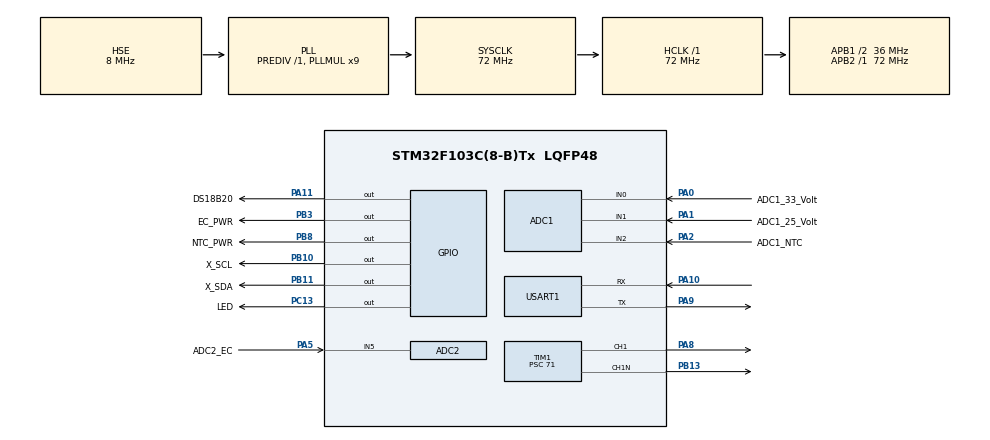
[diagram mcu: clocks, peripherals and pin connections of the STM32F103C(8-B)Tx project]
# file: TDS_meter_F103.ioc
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ADC1.Channel-0\#ChannelRegularConversion=ADC_CHANNEL_0
ADC1.Channel-1\#ChannelRegularConversion=ADC_CHANNEL_1
ADC1.Channel-2\#ChannelRegularConversion=ADC_CHANNEL_2
ADC1.Channel-3\#ChannelRegularConversion=ADC_CHANNEL_VREFINT
ADC1.ContinuousConvMode=ENABLE
ADC1.NbrOfConversion=4
ADC1.NbrOfConversionFlag=1
ADC1.Rank-0\#ChannelRegularConversion=1
ADC1.Rank-1\#ChannelRegularConversion=2
ADC1.Rank-2\#ChannelRegularConversion=3
ADC1.Rank-3\#ChannelRegularConversion=4
ADC1.SamplingTime-0\#ChannelRegularConversion=ADC_SAMPLETIME_28CYCLES_5
ADC1.SamplingTime-1\#ChannelRegularConversion=ADC_SAMPLETIME_28CYCLES_5
ADC1.SamplingTime-2\#ChannelRegularConversion=ADC_SAMPLETIME_28CYCLES_5
ADC1.SamplingTime-3\#ChannelRegularConversion=ADC_SAMPLETIME_28CYCLES_5
ADC1.master=1
ADC2.Channel-0\#ChannelRegularConversion=ADC_CHANNEL_5
ADC2.ExternalTrigConv=ADC_EXTERNALTRIGCONV_T3_TRGO
ADC2.NbrOfConversionFlag=1
ADC2.Rank-0\#ChannelRegularConversion=1
ADC2.SamplingTime-0\#ChannelRegularConversion=ADC_SAMPLETIME_28CYCLES_5
Dma.ADC1.0.Direction=DMA_PERIPH_TO_MEMORY
Dma.ADC1.0.Instance=DMA1_Channel1
Dma.ADC1.0.MemDataAlignment=DMA_MDATAALIGN_HALFWORD
Dma.ADC1.0.MemInc=DMA_MINC_ENABLE
Dma.ADC1.0.Mode=DMA_NORMAL
Dma.ADC1.0.PeriphDataAlignment=DMA_PDATAALIGN_HALFWORD
Dma.ADC1.0.PeriphInc=DMA_PINC_DISABLE
Dma.ADC1.0.Priority=DMA_PRIORITY_LOW
Dma.Request0=ADC1
Dma.Request1=USART1_TX
Dma.USART1_TX.1.Direction=DMA_MEMORY_TO_PERIPH
Dma.USART1_TX.1.Instance=DMA1_Channel4
Dma.USART1_TX.1.MemDataAlignment=DMA_MDATAALIGN_BYTE
Dma.USART1_TX.1.MemInc=DMA_MINC_ENABLE
Dma.USART1_TX.1.Mode=DMA_NORMAL
Dma.USART1_TX.1.PeriphDataAlignment=DMA_PDATAALIGN_BYTE
Dma.USART1_TX.1.PeriphInc=DMA_PINC_DISABLE
Dma.USART1_TX.1.Priority=DMA_PRIORITY_LOW
Mcu.Family=STM32F1
Mcu.Name=STM32F103C(8-B)Tx
Mcu.Package=LQFP48
NVIC.DMA1_Channel1_IRQn=true\:4\:0\:true\:false\:true\:false\:true
NVIC.DMA1_Channel4_IRQn=true\:0\:0\:false\:false\:true\:false\:true
NVIC.PriorityGroup=NVIC_PRIORITYGROUP_4
NVIC.TIM2_IRQn=true\:14\:0\:true\:false\:true\:true\:true
NVIC.USART1_IRQn=true\:3\:0\:true\:false\:true\:true\:true
PA0-WKUP.GPIO_Label=ADC1_33_Volt
PA0-WKUP.Signal=ADCx_IN0
PA1.GPIO_Label=ADC1_25_Volt
PA1.Signal=ADCx_IN1
PA10.Mode=Asynchronous
PA10.Signal=USART1_RX
PA11.GPIO_Label=DS18B20
PA11.GPIO_ModeDefaultOutputPP=GPIO_MODE_OUTPUT_OD
PA11.GPIO_Speed=GPIO_SPEED_FREQ_HIGH
PA11.Signal=GPIO_Output
PA13.Mode=Serial_Wire
PA13.Signal=SYS_JTMS-SWDIO
PA14.Mode=Serial_Wire
PA14.Signal=SYS_JTCK-SWCLK
PA2.GPIO_Label=ADC1_NTC
PA2.Signal=ADCx_IN2
PA5.GPIO_Label=ADC2_EC
PA5.Signal=ADCx_IN5
PA8.Signal=S_TIM1_CH1
PA9.Mode=Asynchronous
PA9.Signal=USART1_TX
PB10.GPIO_Label=X_SCL
PB10.GPIO_ModeDefaultOutputPP=GPIO_MODE_OUTPUT_PP
PB10.GPIO_PuPd=GPIO_PULLUP
PB10.GPIO_Speed=GPIO_SPEED_FREQ_HIGH
PB10.Signal=GPIO_Output
PB11.GPIO_Label=X_SDA
PB11.GPIO_ModeDefaultOutputPP=GPIO_MODE_OUTPUT_PP
PB11.GPIO_PuPd=GPIO_PULLUP
PB11.GPIO_Speed=GPIO_SPEED_FREQ_HIGH
PB11.Signal=GPIO_Output
PB13.Mode=Output Compare1 CH1 CH1N
PB13.Signal=TIM1_CH1N
PB3.GPIO_Label=EC_PWR
PB3.Signal=GPIO_Output
PB8.GPIO_Label=NTC_PWR
PB8.PinState=GPIO_PIN_SET
PB8.Signal=GPIO_Output
PC13-TAMPER-RTC.GPIO_Label=LED
PC13-TAMPER-RTC.Signal=GPIO_Output
PD0-OSC_IN.GPIO_Label=HSE_IN
PD0-OSC_IN.Mode=HSE-External-Oscillator
PD0-OSC_IN.Signal=RCC_OSC_IN
PD1-OSC_OUT.GPIO_Label=HSE_OUT
PD1-OSC_OUT.Mode=HSE-External-Oscillator
PD1-OSC_OUT.Signal=RCC_OSC_OUT
ProjectManager.HeapSize=0x200
ProjectManager.StackSize=0x400
ProjectManager.TargetToolchain=Makefile
RCC.ADCPresc=RCC_ADCPCLK2_DIV6
RCC.AHBFreq_Value=72000000
RCC.APB1CLKDivider=RCC_HCLK_DIV2
RCC.APB1Freq_Value=36000000
RCC.APB1TimFreq_Value=72000000
RCC.APB2Freq_Value=72000000
RCC.APB2TimFreq_Value=72000000
RCC.HCLKFreq_Value=72000000
RCC.PLLMUL=RCC_PLL_MUL9
RCC.PLLSourceVirtual=RCC_PLLSOURCE_HSE
RCC.SYSCLKFreq_VALUE=72000000
RCC.SYSCLKSource=RCC_SYSCLKSOURCE_PLLCLK
RCC.USBFreq_Value=72000000
SH.ADCx_IN0.0=ADC1_IN0,IN0
SH.ADCx_IN1.0=ADC1_IN1,IN1
SH.ADCx_IN2.0=ADC1_IN2,IN2
SH.ADCx_IN5.0=ADC2_IN5,IN5
SH.S_TIM1_CH1.0=TIM1_CH1,Output Compare1 CH1 CH1N
TIM1.Channel-Output\ Compare1\ CH1\ CH1N=TIM_CHANNEL_1
TIM1.DeadTime=20
TIM1.OCMode_1=TIM_OCMODE_TOGGLE
TIM1.OCNPolarity_1=TIM_OCNPOLARITY_HIGH
TIM1.OCPolarity_1=TIM_OCPOLARITY_HIGH
TIM1.Period=100
TIM1.Prescaler=71
TIM1.Pulse-Output\ Compare1\ CH1\ CH1N=100
TIM1.TIM_MasterOutputTrigger=TIM_TRGO_ENABLE
TIM1.TIM_MasterSlaveMode=TIM_MASTERSLAVEMODE_ENABLE
TIM2.Period=7600
TIM2.Prescaler=7199
TIM3.Period=100
TIM3.Prescaler=71
TIM3.TIM_MasterOutputTrigger=TIM_TRGO_UPDATE
USART1.VirtualMode=VM_ASYNC
VP_ADC1_Vref_Input.Mode=IN-Vrefint
VP_TIM2_VS_ClockSourceINT.Mode=Internal
VP_TIM2_VS_OPM.Mode=OPM_bit
VP_TIM3_VS_ClockSourceINT.Mode=Internal
VP_TIM3_VS_ClockSourceITR.Mode=TriggerSource_ITR0
VP_TIM3_VS_ControllerModeGated.Mode=Gated Mode
board=custom

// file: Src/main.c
/* USER CODE BEGIN Header */
/**
  ******************************************************************************
  * @file           : main.c
  * @brief          : Main program body
  ******************************************************************************
  * @attention
  *
  * <h2><center>&copy; Copyright (c) 2021 STMicroelectronics.
  * All rights reserved.</center></h2>
  *
  * This software component is licensed by ST under BSD 3-Clause license,
  * the "License"; You may not use this file except in compliance with the
  * License. You may obtain a copy of the License at:
  *                        opensource.org/licenses/BSD-3-Clause
  *
  ******************************************************************************
  */
/* USER CODE END Header */
#include "main.h"

/* USER CODE BEGIN Includes */
#include "string.h"
#include "stdio.h"
#include "stdlib.h"
#include "flash_wrt.h"
#include "delay_micros.h"
#include "ds18b20.h"
#include "math.h"
#include "usart_ring.h"
#include "tm1637.h"

/* USER CODE END Includes */

/* USER CODE BEGIN PD */
#define COUNT_REQUEST     40 // размер буфера ацп для adc_33_volt, adc_25_volt, adc_ntc, adc_vrefint (должно быть чётное число)
#define CH_ADC            4  // количество каналов (если тут не чётное число, то COUNT_REQUEST должен делится на него без остатка)
#define DIV_ADC           (COUNT_REQUEST / CH_ADC)

#define EC_COUNT_ADC      16 // количество опросов EC (должно быть чётное число)

#define BUF_UART          256
/* USER CODE END PD */

ADC_HandleTypeDef hadc1;
ADC_HandleTypeDef hadc2;
DMA_HandleTypeDef hdma_adc1;

TIM_HandleTypeDef htim1;
TIM_HandleTypeDef htim2;
TIM_HandleTypeDef htim3;

UART_HandleTypeDef huart1;
DMA_HandleTypeDef hdma_usart1_tx;

/* USER CODE BEGIN PV */
char trans_str[BUF_UART] = {0,};

volatile uint8_t adc_flag_full = 0;
volatile uint8_t flag_ds18b20 = 1;

//////////////////////////////////////////////////
//uint32_t interval_uart = 500;

uint32_t interval_ds18 = 800; // миллисекунды, min 800                             [A800]
uint32_t interval_ec = 500;   // миллисекунды, min 500                             [B

uint32_t referenceVoltage = 3187;  // 2500mv (напряжение питания в попугаях)       [C

uint32_t ntcR1 = 9600;    // 10kΩ voltage divider resistor value                   [D
uint32_t ntcRo = 10000;   // 10kΩ R of Thermistor at 25 degree                     [E
uint32_t ntcTo = 25;      // 25 Temperature in Kelvin for 25 degree                [F
uint32_t ntcKoefB = 3950; // 3950 Beta value                                       [G

int32_t ecRo = 1000;      //  Ω Voltage divider resistor value 500Ω / 1000Ω        [K
int32_t ecKoefA = 1627166;//  Alfa value [L
int32_t ecKoefB = -180;   //  Beta value                                           [M
int32_t ecKoefC = 898;    //  С-value                                              [N
int32_t ecKoefT = 0;      //  Ноль Koef Temperature                                [P

uint32_t ec_Hz = 9;       // Частота PWM (в микросек, min 9, max 65535)            [Q
/* USER CODE END PV */

void SystemClock_Config(void);
static void MX_GPIO_Init(void);
static void MX_DMA_Init(void);
static void MX_ADC1_Init(void);
static void MX_USART1_UART_Init(void);
static void MX_TIM1_Init(void);
static void MX_ADC2_Init(void);
static void MX_TIM2_Init(void);
static void MX_TIM3_Init(void);

/* USER CODE BEGIN 0 */
#if DEBUG_USART1
void trans_to_usart1(char *buf)
{
  uint8_t len = strlen((char*)buf);

  for(uint8_t i = 0; i < len; i++)
  {
    while((USART1->SR & USART_SR_TXE) == 0){}
    USART1->DR = buf[i];
  }

  while((USART1->SR & USART_SR_TXE) == 0){}
  USART1->DR = '\n';
}
#endif

/////////// Таймер измерения времени для скорости & rpm ///////////
void HAL_TIM_PeriodElapsedCallback(TIM_HandleTypeDef *htim)
{
  if(htim == &htim2) // ds18b20
  {
    flag_ds18b20 = 2;
  }
}

void HAL_ADC_ConvCpltCallback(ADC_HandleTypeDef* hadc)
{
  if(hadc->Instance == ADC1)
  {
    adc_flag_full = 1;
    HAL_ADC_Stop(&hadc1);
  }
}

int16_t rawNtcToTemperature(uint16_t Vout)
{
  uint32_t Rt;
  double kelvin, celsius;

  uint32_t R1 = ntcR1; // 9600  | voltage divider resistor value
  uint32_t Ro = ntcRo; // 10000 | R of Thermistor at 25 degree
  uint32_t To = ntcTo; // 25 | Temperature in Kelvin for 25 degree
  uint32_t koefB = ntcKoefB; // 3950  | Beta value
  uint32_t mv = (referenceVoltage - Vout);

  Rt = R1 * mv / (referenceVoltage - mv);
  kelvin = (double)Ro / (double)Rt;              // R/Ro
  kelvin = log(kelvin);                          // ln(R/Ro)
  kelvin = (1 / (double)koefB) * kelvin;         // 1/B * ln(R/Ro)
  kelvin = (1 / ((double)To + 273.15)) + kelvin; // 1/To + 1/B * ln(R/Ro)
  kelvin = 1 / kelvin; // 1/( 1/To + 1/B * ln(R/Ro) )​

  celsius = kelvin - 273.15; // Convert Kelvin to Celsius.
  return round(celsius * 1000);
}

/* USER CODE END 0 */

int main(void)
{

  /* MCU Configuration--------------------------------------------------------*/

  /* Reset of all peripherals, Initializes the Flash interface and the Systick. */
  HAL_Init();

  /* Configure the system clock */
  SystemClock_Config();

  /* Initialize all configured peripherals */
  MX_GPIO_Init();
  MX_DMA_Init();
  MX_ADC1_Init();
  MX_USART1_UART_Init();
  MX_TIM1_Init();
  MX_ADC2_Init();
  MX_TIM2_Init();
  MX_TIM3_Init();
  /* USER CODE BEGIN 2 */
  // Enable power.
  HAL_GPIO_WritePin(EC_PWR_GPIO_Port, EC_PWR_Pin, GPIO_PIN_SET);
  HAL_GPIO_WritePin(NTC_PWR_GPIO_Port, NTC_PWR_Pin, GPIO_PIN_RESET);
  ///////////////////// READ FLASH ////////////////////////
  uint32_t data[13] = {0,};

  Read_flash_data(ADDR_FLASH_PAGE_31, data);

  #if DEBUG_USART1 // дефаин в файле main.h
  snprintf(trans_str, BUF_UART, "A %lu %lu %lu %lu %lu %lu %lu %lu %lu %lu %lu %lu %lu",\
      data[0], data[1], data[2], data[3], data[4], data[5], data[6], data[7], data[8], data[9], data[10], data[11], data[12]);
  trans_to_usart1(trans_str);
  #endif

  // @todo: проверка целостности вмсето пустой флешки
  if(1 || data[0] == 0xFFFFFFFF) // если флеш пустая, записываем туда дефолтные значения
  {
    data[0] = interval_ds18;    // 800
    data[1] = interval_ec;      // 500
    data[2] = referenceVoltage; // 2500
    data[3] = ntcR1;            // 9600
    data[4] = ntcRo;            // 10000
    data[5] = ntcTo;            // 25
    data[6] = ntcKoefB;         // 3950
    data[7] = ecRo;             // 1000
    data[8] = ecKoefA;          // 102545
    data[9] = ecKoefB;          // 99
    data[10] = ecKoefC;         // 5
    data[11] = ecKoefT;         // 0
    data[12] = ec_Hz;           // 9

    Write_flash_data(ADDR_FLASH_PAGE_31, data);
  }
  else
  {
    interval_ds18 = data[0];
    interval_ec = data[1];
    referenceVoltage = data[2];
    ntcR1 = data[3];
    ntcRo = data[4];
    ntcTo = data[5];
    ntcKoefB = data[6];
    ecRo = data[7];
    ecKoefA = data[8];
    ecKoefB = data[9];
    ecKoefC = data[10];
    ecKoefT = data[11];
    ec_Hz = data[12];
  }

  #if DEBUG_USART1
  snprintf(trans_str, BUF_UART, "B %lu %lu %lu %lu %lu %lu %lu %ld %ld %ld %ld %ld %lu",\
      interval_ds18, interval_ec, referenceVoltage, ntcR1, ntcRo, ntcTo, ntcKoefB, ecRo, ecKoefA, ecKoefB, ecKoefC, ecKoefT, ec_Hz);
  trans_to_usart1(trans_str);
  #endif

  /////////////////////// DWT /////////////////////////////
  DWT_Init();

  /////////////////////// tm1637/////////////////////////////
  set_brightness(7); // 0 - 7 яркость
  clearDisplay();    // очистка дисплея
  int8_t data_to_disp[4] = {0,};

  ///////////////////// DS18B20 ///////////////////////////
  setResolution(DS18B20_Resolution_12_bit);

  ///////////////////// ADC1 /////////////////////////////
  HAL_ADCEx_Calibration_Start(&hadc1); // калибровка АЦП1
  HAL_ADCEx_Calibration_Start(&hadc2); // калибровка АЦП2
  uint16_t adc_buf[COUNT_REQUEST] = {0,}; // буфер для adc_33_volt, adc_25_volt, adc_ntc, adc_vrefint, по 10 значений каждого (#define COUNT_REQUEST)
  HAL_ADC_Start_DMA(&hadc1, (uint32_t*)adc_buf, COUNT_REQUEST); // опрашивает adc_33_volt, adc_25_volt, adc_ntc, adc_vrefint

  /////// переменные АЦП1 ///////
  uint32_t tmp_adc_33_volt = 0;
  uint32_t tmp_adc_25_volt = 0;
  uint32_t tmp_adc_ntc = 0;
  uint32_t tmp_adc_vrefint = 0;

  uint16_t adc_33_volt = 0;
  uint16_t adc_25_volt = 0;
  uint16_t adc_ntc = 0;
  uint16_t adc_vrefint = 0;

  ///////////////////// ADC2 и PWM ////////////////////////
  TIM1->ARR = ec_Hz;
  TIM1->CCR1 = TIM1->ARR;
  TIM1->EGR = TIM_EGR_UG;
  TIM1->SR = ~TIM_SR_UIF;

  TIM3->ARR = TIM1->ARR;
  TIM3->EGR = TIM_EGR_UG;
  TIM3->SR = ~TIM_SR_UIF;

  HAL_ADC_Start(&hadc2);      // включаем АЦП2 (преобразование запустится по триггеру)
  HAL_TIM_Base_Start(&htim3); // подчинённый таймер, запускается от тим1 и работает с ним синхронно "толкая" АЦП2 сразу после переключения фронтов тим1
  HAL_TIM_OC_Start(&htim1, TIM_CHANNEL_1); // запускает PWM, и посылает триггер для запуска тим3
  HAL_TIMEx_OCN_Start(&htim1, TIM_CHANNEL_1);

  /////// переменные АЦП2 ///////
  uint32_t tmp_adc_ec_positive = 0; // собирает пачку позитивных значений ЕС (по умолчанию 10 - #define EC_COUNT_ADC)
  uint16_t adc_ec_positive = 0; // среднее позитив = (tmp_adc_ec_positive / EC_COUNT_ADC)

  uint32_t tmp_adc_ec_negative = 0; // собирает пачку негативных значений ЕС (по умолчанию 10 - #define EC_COUNT_ADC)
  uint16_t adc_ec_negative = 0; // среднее негатив = (tmp_adc_ec_negative / EC_COUNT_ADC)
  // Посчитанные значения EC.
  int16_t adc_ec_delta = 0;
  uint16_t adc_ec_raw = 0;
  uint16_t ec = 0;

  ///////////////// Готовые температуры ////////////////////
  int16_t temp_ntc = 0;
  int16_t temp_ds18 = 0;

  ///////////////////////// tick ///////////////////////////
  uint32_t tim_ds18 = 0;
  //uint32_t tim_uart = 0;
  uint32_t tim_ec = 0;

  //////////////// Вкл прерывания UART /////////////////////
  __HAL_UART_ENABLE_IT(&huart1, UART_IT_RXNE); // приём команд происходит в файле stm32f1xx_it.c

  /* USER CODE END 2 */

  /* Infinite loop */
  /* USER CODE BEGIN WHILE */
  while (1)
  {
    if(adc_flag_full == 1) // ждём флаг, который установится в прерывании АЦП1 по окончанию работы ДМА
    {
        adc_flag_full = 0; // обнуляем флаг

        // обнуляем временные переменные
        tmp_adc_33_volt = 0;
        tmp_adc_25_volt = 0;
        tmp_adc_ntc = 0;
        tmp_adc_vrefint = 0;

        // разбираем данные с АЦП1 полученые через ДМА
      for(uint16_t i = 0; i < (COUNT_REQUEST / CH_ADC); i++)
      {
        tmp_adc_33_volt += adc_buf[CH_ADC * i + 0];
        tmp_adc_25_volt += adc_buf[CH_ADC * i + 1];
        tmp_adc_ntc += adc_buf[CH_ADC * i + 2];
        tmp_adc_vrefint += adc_buf[CH_ADC * i + 3];
      }

      // усредняем
      adc_33_volt = (tmp_adc_33_volt / DIV_ADC);
      adc_25_volt = (tmp_adc_25_volt / DIV_ADC);
      adc_ntc = (tmp_adc_ntc / DIV_ADC);
      adc_vrefint = (tmp_adc_vrefint / DIV_ADC);

      temp_ntc = rawNtcToTemperature(adc_ntc); // получаем температуру с NTC

      //sprintf(trans_str, "A %d %d %d %d %ld", adc_33_volt, adc_25_volt, adc_ntc, adc_vrefint, ntc);
      //trans_to_usart1(trans_str);
      //HAL_Delay(500);

      HAL_ADC_Start_DMA(&hadc1, (uint32_t*)adc_buf, COUNT_REQUEST); // перезапускаем АЦП1
    }

    //////////////////////////////// DS18B20 ////////////////////////////////////
    if((uwTick - tim_ds18) > interval_ds18)
    {
      if(flag_ds18b20 == 1)
      {
        flag_ds18b20 = 0;

        DB18B20_PORT->BSRR = (uint32_t)DB18B20_PIN << 16u;
        delay_us(DELAY_RESET);
        DB18B20_PORT->BSRR = DB18B20_PIN;
        delay_us(DELAY_RESET);

        writeByte(SKIP_ROM);
        writeByte(CONVERT_T);

        TIM2->DIER |= TIM_IT_UPDATE;
        TIM2->CR1 |= TIM_CR1_CEN;
      }
      else if(flag_ds18b20 == 2) // когда таймер отсчитает 750мс, он установит flag == 2
      {
        DB18B20_PORT->BSRR = (uint32_t)DB18B20_PIN << 16u;
        delay_us(DELAY_RESET);
        DB18B20_PORT->BSRR = DB18B20_PIN;
        delay_us(DELAY_RESET);

        writeByte(SKIP_ROM);
        writeByte(READ_SCRATCHPAD);

        temp_ds18 = 0;

        for(uint8_t i = 0; i < 16; i++) temp_ds18 += (int16_t)readBit() << i;

        temp_ds18 = (1000 * temp_ds18 / 16);
        //float t = temp_ds18 / 16.0;

        flag_ds18b20 = 1; // запускаем новое измерение.
      }

      HAL_GPIO_TogglePin(LED_GPIO_Port, LED_Pin); // просто мигалка, можно вставить куда захочется
      tim_ds18 = uwTick;
    }

    //////////////////////////// EC ///////////////////////////////
    if((uwTick - tim_ec) > interval_ec)
    {
      tmp_adc_ec_positive = 0;
      tmp_adc_ec_negative = 0;

      // данные с АЦП2 (ЕС) читаются постоянно, преобразование запускается по триггеру от таймера №3.
      // блогодаря тому, что АЦП2 работает постоянно, нам не нужно тратить время на его запуск.
      ADC2->DR; // читаем регистр чтоб обнулить его

      for(uint8_t i = 0; i < EC_COUNT_ADC; i++)
      {
        while(!(ADC2->SR & ADC_SR_EOC)); // ждём следуещего преобразования

        if((GPIOA->IDR & GPIO_PIN_8)) // проверяем пин РА8 (в каком он состоянии - позитивном или негативном)
        {
          tmp_adc_ec_positive += ADC2->DR;
          //trans_to_usart1("P");
        }
        else
        {
          tmp_adc_ec_negative += ADC2->DR;
          //trans_to_usart1("N");
        }
      }

      adc_ec_positive = (tmp_adc_ec_positive / (EC_COUNT_ADC / 2));
      adc_ec_negative = adc_25_volt - (tmp_adc_ec_negative / (EC_COUNT_ADC / 2));
      adc_ec_delta = adc_ec_positive - adc_ec_negative;
      adc_ec_raw = (adc_ec_positive + adc_ec_negative) / 2;
      uint16_t R = ecRo * (referenceVoltage - adc_ec_raw) / adc_ec_raw;
      ec = ecKoefA / (R - ecKoefB) - ecKoefC;

      uint16_t vdd = 1210 * 4095 / adc_vrefint; // напряжение питания на основе Vrefint (не точно)

      ////////////////////////// Выводим все данные в УАРТ /////////////////////////////
      uint16_t len = snprintf(
          trans_str, BUF_UART, "EC:%d R:%d RAW:%d |%d %d| Δ %d %d %d %d %d %d %d %d\n",
          ec,
          R,
          adc_ec_raw,
          temp_ntc / 1000,
          temp_ds18 / 1000,
          adc_ec_delta,
          adc_ec_positive,
          adc_ec_negative,
          adc_33_volt,
          adc_25_volt,
          adc_ntc,
          adc_vrefint,
          vdd);
      while ((HAL_UART_GetState(&huart1) != HAL_UART_STATE_READY));
      HAL_UART_Transmit_DMA(&huart1, (uint8_t *)trans_str, len);

      // if(adc_ec_positive < 2900 || adc_ec_positive > 3100) while(1){}
      // if(adc_ec_negative < 2900 || adc_ec_negative > 3100) while(1){}

      //////////////// tm1637 ///////////////
      if (ec >= 1000) {
        data_to_disp[0] = (ec / 1000 % 10);
        data_to_disp[1] = (ec / 100 % 10);
        data_to_disp[2] = (ec / 10 % 10);
        data_to_disp[3] = ec % 10;
      } else if (ec >= 100) {
        data_to_disp[0] = 0x7f; // ничего не выводит на сегмент
        data_to_disp[1] = (ec / 100 % 10);
        data_to_disp[2] = (ec / 10 % 10);
        data_to_disp[3] = ec % 10;
      } else if (ec >= 10) {
        data_to_disp[0] = 0x7f;
        data_to_disp[1] = 0x7f;
        data_to_disp[2] = (ec / 10 % 10);
        data_to_disp[3] = ec % 10;
      } else if (ec >= 0) {
        data_to_disp[0] = 0x7f;
        data_to_disp[1] = 0x7f;
        data_to_disp[2] = 0x7f;
        data_to_disp[3] = ec % 10;
      }
      //// Для отрицательных значений -1 -99 ////
      else if (ec <= -10 && ec >= -99) {
        int8_t tmp = ec;
        tmp *= -1;

        data_to_disp[0] = 0x7f;
        data_to_disp[1] = 18; // выводит на сегмент знак "минус"
        data_to_disp[2] = (tmp / 10 % 10);
        data_to_disp[3] = tmp % 10;
      } else if (ec <= -1 && ec >= -9) {
        int8_t tmp = ec;
        tmp *= -1;

        data_to_disp[0] = 0x7f;
        data_to_disp[1] = 0x7f;
        data_to_disp[2] = 18;
        data_to_disp[3] = tmp % 10;
      }

      display_mass(data_to_disp);

      //snprintf(trans_str, BUF_UART, "Vref: %d Vdd: %d mV\n", adc_vrefint, vdd);
      //trans_to_usart1(trans_str);

      tim_ec = uwTick;
    }

    //////////////////////////// UART //////////////////////////////
    /*if((uwTick - tim_uart) > interval_uart) // кидаем данные у УАРТ с указанным интервалом
    {
      uint16_t len = snprintf(trans_str, BUF_UART, "%d %d %d %d %ld %d %d %d\n", \
          adc_33_volt, adc_25_volt, adc_ntc, adc_vrefint, temp_ntc, temp_ds18, adc_ec_positive, adc_ec_negative);
      trans_to_usart_data(trans_str, len);

      //snprintf(trans_str, 128, "Len %d", len);
      //trans_to_usart1(trans_str);
      tim_uart = uwTick;
    }*/

    //////////////////////////// UART Приём //////////////////////////////
    if(uart_available()) // есть ли что-то в приёмном буфере, тогда читаем
    {
      char str[16] = {0,};
      uint8_t i = 0;
      uint8_t flag = 0;

      while(uart_available())
      {
        str[i] = uart_read();

        if(str[i] == ']')
        {
          str[i] = '\0';
          flag = 1;
          break;
        }
        else if(i == 15) break;

        i++;
        delay_us(150);
      }

      if(flag && str[0] == '[')
      {
      switch(str[1])
      {
        case 'A':
          interval_ds18 = strtoul(&str[2], NULL, 0);
          if(interval_ds18 < 800) interval_ds18 = 800;
        break;

        case 'B':
          interval_ec = strtoul(&str[2], NULL, 0); // интервал вывода в УАРТ и опрос ЕС
          if(interval_ec < 500) interval_ec = 500;
        break;

        case 'C':
          referenceVoltage = strtoul(&str[2], NULL, 0);
        break;

        case 'D':
          ntcR1 = strtoul(&str[2], NULL, 0);
        break;

        case 'E':
          ntcRo = strtoul(&str[2], NULL, 0);
        break;

        case 'F':
          ntcTo = strtoul(&str[2], NULL, 0);
        break;

        case 'G':
          ntcKoefB = strtoul(&str[2], NULL, 0);
        break;

        case 'K':
          ecRo = strtoul(&str[2], NULL, 0);
        break;

        case 'L':
          ecKoefA = strtoul(&str[2], NULL, 0);
        break;

        case 'M':
          ecKoefB = strtoul(&str[2], NULL, 0);
        break;

        case 'N':
          ecKoefC = strtoul(&str[2], NULL, 0);
        break;

        case 'P':
          ecKoefT = strtoul(&str[2], NULL, 0);
        break;

        case 'Q':
          ec_Hz = strtoul(&str[2], NULL, 0);
          if(ec_Hz < 9) ec_Hz = 9;
        break;

        default:
        break;
      }

      data[0] = interval_ds18;
      data[1] = interval_ec;
      data[2] = referenceVoltage;
      data[3] = ntcR1;
      data[4] = ntcRo;
      data[5] = ntcTo;
      data[6] = ntcKoefB;
      data[7] = ecRo;
      data[8] = ecKoefA;
      data[9] = ecKoefB;
      data[10] = ecKoefC;
      data[11] = ecKoefT;
      data[12] = ec_Hz;

      Write_flash_data(ADDR_FLASH_PAGE_31, data); // сохраняем данные (сохранение в одну страницу флеша, поэтому все значения перезаписываются)

      if(str[1] == 'Q') NVIC_SystemReset(); // если изменилась частота, тогда ресетим камень
      }
    }

    /* USER CODE END WHILE */

  }
}

void SystemClock_Config(void)
{
  RCC_OscInitTypeDef RCC_OscInitStruct = {0};
  RCC_ClkInitTypeDef RCC_ClkInitStruct = {0};
  RCC_PeriphCLKInitTypeDef PeriphClkInit = {0};

  /** Initializes the RCC Oscillators according to the specified parameters
  * in the RCC_OscInitTypeDef structure.
  */
  RCC_OscInitStruct.OscillatorType = RCC_OSCILLATORTYPE_HSE;
  RCC_OscInitStruct.HSEState = RCC_HSE_ON;
  RCC_OscInitStruct.HSEPredivValue = RCC_HSE_PREDIV_DIV1;
  RCC_OscInitStruct.HSIState = RCC_HSI_ON;
  RCC_OscInitStruct.PLL.PLLState = RCC_PLL_ON;
  RCC_OscInitStruct.PLL.PLLSource = RCC_PLLSOURCE_HSE;
  RCC_OscInitStruct.PLL.PLLMUL = RCC_PLL_MUL9;
  if (HAL_RCC_OscConfig(&RCC_OscInitStruct) != HAL_OK)
  {
    Error_Handler();
  }
  /** Initializes the CPU, AHB and APB buses clocks
  */
  RCC_ClkInitStruct.ClockType = RCC_CLOCKTYPE_HCLK|RCC_CLOCKTYPE_SYSCLK
                              |RCC_CLOCKTYPE_PCLK1|RCC_CLOCKTYPE_PCLK2;
  RCC_ClkInitStruct.SYSCLKSource = RCC_SYSCLKSOURCE_PLLCLK;
  RCC_ClkInitStruct.AHBCLKDivider = RCC_SYSCLK_DIV1;
  RCC_ClkInitStruct.APB1CLKDivider = RCC_HCLK_DIV2;
  RCC_ClkInitStruct.APB2CLKDivider = RCC_HCLK_DIV1;

  if (HAL_RCC_ClockConfig(&RCC_ClkInitStruct, FLASH_LATENCY_2) != HAL_OK)
  {
    Error_Handler();
  }
  PeriphClkInit.PeriphClockSelection = RCC_PERIPHCLK_ADC;
  PeriphClkInit.AdcClockSelection = RCC_ADCPCLK2_DIV6;
  if (HAL_RCCEx_PeriphCLKConfig(&PeriphClkInit) != HAL_OK)
  {
    Error_Handler();
  }
}

static void MX_ADC1_Init(void)
{

  ADC_ChannelConfTypeDef sConfig = {0};

  /** Common config
  */
  hadc1.Instance = ADC1;
  hadc1.Init.ScanConvMode = ADC_SCAN_ENABLE;
  hadc1.Init.ContinuousConvMode = ENABLE;
  hadc1.Init.DiscontinuousConvMode = DISABLE;
  hadc1.Init.ExternalTrigConv = ADC_SOFTWARE_START;
  hadc1.Init.DataAlign = ADC_DATAALIGN_RIGHT;
  hadc1.Init.NbrOfConversion = 4;
  if (HAL_ADC_Init(&hadc1) != HAL_OK)
  {
    Error_Handler();
  }
  /** Configure Regular Channel
  */
  sConfig.Channel = ADC_CHANNEL_0;
  sConfig.Rank = ADC_REGULAR_RANK_1;
  sConfig.SamplingTime = ADC_SAMPLETIME_28CYCLES_5;
  if (HAL_ADC_ConfigChannel(&hadc1, &sConfig) != HAL_OK)
  {
    Error_Handler();
  }
  /** Configure Regular Channel
  */
  sConfig.Channel = ADC_CHANNEL_1;
  sConfig.Rank = ADC_REGULAR_RANK_2;
  if (HAL_ADC_ConfigChannel(&hadc1, &sConfig) != HAL_OK)
  {
    Error_Handler();
  }
  /** Configure Regular Channel
  */
  sConfig.Channel = ADC_CHANNEL_2;
  sConfig.Rank = ADC_REGULAR_RANK_3;
  if (HAL_ADC_ConfigChannel(&hadc1, &sConfig) != HAL_OK)
  {
    Error_Handler();
  }
  /** Configure Regular Channel
  */
  sConfig.Channel = ADC_CHANNEL_VREFINT;
  sConfig.Rank = ADC_REGULAR_RANK_4;
  if (HAL_ADC_ConfigChannel(&hadc1, &sConfig) != HAL_OK)
  {
    Error_Handler();
  }

}

static void MX_ADC2_Init(void)
{

  ADC_ChannelConfTypeDef sConfig = {0};

  /** Common config
  */
  hadc2.Instance = ADC2;
  hadc2.Init.ScanConvMode = ADC_SCAN_DISABLE;
  hadc2.Init.ContinuousConvMode = DISABLE;
  hadc2.Init.DiscontinuousConvMode = DISABLE;
  hadc2.Init.ExternalTrigConv = ADC_EXTERNALTRIGCONV_T3_TRGO;
  hadc2.Init.DataAlign = ADC_DATAALIGN_RIGHT;
  hadc2.Init.NbrOfConversion = 1;
  if (HAL_ADC_Init(&hadc2) != HAL_OK)
  {
    Error_Handler();
  }
  /** Configure Regular Channel
  */
  sConfig.Channel = ADC_CHANNEL_5;
  sConfig.Rank = ADC_REGULAR_RANK_1;
  sConfig.SamplingTime = ADC_SAMPLETIME_28CYCLES_5;
  if (HAL_ADC_ConfigChannel(&hadc2, &sConfig) != HAL_OK)
  {
    Error_Handler();
  }

}

static void MX_TIM1_Init(void)
{

  TIM_MasterConfigTypeDef sMasterConfig = {0};
  TIM_OC_InitTypeDef sConfigOC = {0};
  TIM_BreakDeadTimeConfigTypeDef sBreakDeadTimeConfig = {0};

  htim1.Instance = TIM1;
  htim1.Init.Prescaler = 71;
  htim1.Init.CounterMode = TIM_COUNTERMODE_UP;
  htim1.Init.Period = 100;
  htim1.Init.ClockDivision = TIM_CLOCKDIVISION_DIV1;
  htim1.Init.RepetitionCounter = 0;
  htim1.Init.AutoReloadPreload = TIM_AUTORELOAD_PRELOAD_DISABLE;
  if (HAL_TIM_OC_Init(&htim1) != HAL_OK)
  {
    Error_Handler();
  }
  sMasterConfig.MasterOutputTrigger = TIM_TRGO_ENABLE;
  sMasterConfig.MasterSlaveMode = TIM_MASTERSLAVEMODE_ENABLE;
  if (HAL_TIMEx_MasterConfigSynchronization(&htim1, &sMasterConfig) != HAL_OK)
  {
    Error_Handler();
  }
  sConfigOC.OCMode = TIM_OCMODE_TOGGLE;
  sConfigOC.Pulse = 100;
  sConfigOC.OCPolarity = TIM_OCPOLARITY_HIGH;
  sConfigOC.OCNPolarity = TIM_OCNPOLARITY_HIGH;
  sConfigOC.OCFastMode = TIM_OCFAST_DISABLE;
  sConfigOC.OCIdleState = TIM_OCIDLESTATE_RESET;
  sConfigOC.OCNIdleState = TIM_OCNIDLESTATE_RESET;
  if (HAL_TIM_OC_ConfigChannel(&htim1, &sConfigOC, TIM_CHANNEL_1) != HAL_OK)
  {
    Error_Handler();
  }
  sBreakDeadTimeConfig.OffStateRunMode = TIM_OSSR_DISABLE;
  sBreakDeadTimeConfig.OffStateIDLEMode = TIM_OSSI_DISABLE;
  sBreakDeadTimeConfig.LockLevel = TIM_LOCKLEVEL_OFF;
  sBreakDeadTimeConfig.DeadTime = 20;
  sBreakDeadTimeConfig.BreakState = TIM_BREAK_DISABLE;
  sBreakDeadTimeConfig.BreakPolarity = TIM_BREAKPOLARITY_HIGH;
  sBreakDeadTimeConfig.AutomaticOutput = TIM_AUTOMATICOUTPUT_DISABLE;
  if (HAL_TIMEx_ConfigBreakDeadTime(&htim1, &sBreakDeadTimeConfig) != HAL_OK)
  {
    Error_Handler();
  }
  HAL_TIM_MspPostInit(&htim1);

}

static void MX_TIM2_Init(void)
{

  TIM_ClockConfigTypeDef sClockSourceConfig = {0};
  TIM_MasterConfigTypeDef sMasterConfig = {0};

  htim2.Instance = TIM2;
  htim2.Init.Prescaler = 7199;
  htim2.Init.CounterMode = TIM_COUNTERMODE_UP;
  htim2.Init.Period = 7600;
  htim2.Init.ClockDivision = TIM_CLOCKDIVISION_DIV1;
  htim2.Init.AutoReloadPreload = TIM_AUTORELOAD_PRELOAD_DISABLE;
  if (HAL_TIM_Base_Init(&htim2) != HAL_OK)
  {
    Error_Handler();
  }
  sClockSourceConfig.ClockSource = TIM_CLOCKSOURCE_INTERNAL;
  if (HAL_TIM_ConfigClockSource(&htim2, &sClockSourceConfig) != HAL_OK)
  {
    Error_Handler();
  }
  if (HAL_TIM_OnePulse_Init(&htim2, TIM_OPMODE_SINGLE) != HAL_OK)
  {
    Error_Handler();
  }
  sMasterConfig.MasterOutputTrigger = TIM_TRGO_RESET;
  sMasterConfig.MasterSlaveMode = TIM_MASTERSLAVEMODE_DISABLE;
  if (HAL_TIMEx_MasterConfigSynchronization(&htim2, &sMasterConfig) != HAL_OK)
  {
    Error_Handler();
  }

}

static void MX_TIM3_Init(void)
{

  TIM_ClockConfigTypeDef sClockSourceConfig = {0};
  TIM_SlaveConfigTypeDef sSlaveConfig = {0};
  TIM_MasterConfigTypeDef sMasterConfig = {0};

  htim3.Instance = TIM3;
  htim3.Init.Prescaler = 71;
  htim3.Init.CounterMode = TIM_COUNTERMODE_UP;
  htim3.Init.Period = 100;
  htim3.Init.ClockDivision = TIM_CLOCKDIVISION_DIV1;
  htim3.Init.AutoReloadPreload = TIM_AUTORELOAD_PRELOAD_DISABLE;
  if (HAL_TIM_Base_Init(&htim3) != HAL_OK)
  {
    Error_Handler();
  }
  sClockSourceConfig.ClockSource = TIM_CLOCKSOURCE_INTERNAL;
  if (HAL_TIM_ConfigClockSource(&htim3, &sClockSourceConfig) != HAL_OK)
  {
    Error_Handler();
  }
  sSlaveConfig.SlaveMode = TIM_SLAVEMODE_GATED;
  sSlaveConfig.InputTrigger = TIM_TS_ITR0;
  if (HAL_TIM_SlaveConfigSynchro(&htim3, &sSlaveConfig) != HAL_OK)
  {
    Error_Handler();
  }
  sMasterConfig.MasterOutputTrigger = TIM_TRGO_UPDATE;
  sMasterConfig.MasterSlaveMode = TIM_MASTERSLAVEMODE_DISABLE;
  if (HAL_TIMEx_MasterConfigSynchronization(&htim3, &sMasterConfig) != HAL_OK)
  {
    Error_Handler();
  }

}

static void MX_USART1_UART_Init(void)
{

  huart1.Instance = USART1;
  huart1.Init.BaudRate = 115200;
  huart1.Init.WordLength = UART_WORDLENGTH_8B;
  huart1.Init.StopBits = UART_STOPBITS_1;
  huart1.Init.Parity = UART_PARITY_NONE;
  huart1.Init.Mode = UART_MODE_TX_RX;
  huart1.Init.HwFlowCtl = UART_HWCONTROL_NONE;
  huart1.Init.OverSampling = UART_OVERSAMPLING_16;
  if (HAL_UART_Init(&huart1) != HAL_OK)
  {
    Error_Handler();
  }

}

static void MX_DMA_Init(void)
{

  /* DMA controller clock enable */
  __HAL_RCC_DMA1_CLK_ENABLE();

  /* DMA interrupt init */
  /* DMA1_Channel1_IRQn interrupt configuration */
  HAL_NVIC_SetPriority(DMA1_Channel1_IRQn, 4, 0);
  HAL_NVIC_EnableIRQ(DMA1_Channel1_IRQn);
  /* DMA1_Channel4_IRQn interrupt configuration */
  HAL_NVIC_SetPriority(DMA1_Channel4_IRQn, 0, 0);
  HAL_NVIC_EnableIRQ(DMA1_Channel4_IRQn);

}

static void MX_GPIO_Init(void)
{
  GPIO_InitTypeDef GPIO_InitStruct = {0};

  /* GPIO Ports Clock Enable */
  __HAL_RCC_GPIOC_CLK_ENABLE();
  __HAL_RCC_GPIOD_CLK_ENABLE();
  __HAL_RCC_GPIOA_CLK_ENABLE();
  __HAL_RCC_GPIOB_CLK_ENABLE();

  /*Configure GPIO pin Output Level */
  HAL_GPIO_WritePin(LED_GPIO_Port, LED_Pin, GPIO_PIN_RESET);

  /*Configure GPIO pin Output Level */
  HAL_GPIO_WritePin(GPIOB, X_SCL_Pin|X_SDA_Pin|EC_PWR_Pin, GPIO_PIN_RESET);

  /*Configure GPIO pin Output Level */
  HAL_GPIO_WritePin(DS18B20_GPIO_Port, DS18B20_Pin, GPIO_PIN_RESET);

  /*Configure GPIO pin Output Level */
  HAL_GPIO_WritePin(NTC_PWR_GPIO_Port, NTC_PWR_Pin, GPIO_PIN_SET);

  /*Configure GPIO pin : LED_Pin */
  GPIO_InitStruct.Pin = LED_Pin;
  GPIO_InitStruct.Mode = GPIO_MODE_OUTPUT_PP;
  GPIO_InitStruct.Pull = GPIO_NOPULL;
  GPIO_InitStruct.Speed = GPIO_SPEED_FREQ_LOW;
  HAL_GPIO_Init(LED_GPIO_Port, &GPIO_InitStruct);

  /*Configure GPIO pins : X_SCL_Pin X_SDA_Pin */
  GPIO_InitStruct.Pin = X_SCL_Pin|X_SDA_Pin;
  GPIO_InitStruct.Mode = GPIO_MODE_OUTPUT_PP;
  GPIO_InitStruct.Pull = GPIO_PULLUP;
  GPIO_InitStruct.Speed = GPIO_SPEED_FREQ_HIGH;
  HAL_GPIO_Init(GPIOB, &GPIO_InitStruct);

  /*Configure GPIO pin : DS18B20_Pin */
  GPIO_InitStruct.Pin = DS18B20_Pin;
  GPIO_InitStruct.Mode = GPIO_MODE_OUTPUT_OD;
  GPIO_InitStruct.Pull = GPIO_NOPULL;
  GPIO_InitStruct.Speed = GPIO_SPEED_FREQ_HIGH;
  HAL_GPIO_Init(DS18B20_GPIO_Port, &GPIO_InitStruct);

  /*Configure GPIO pins : EC_PWR_Pin NTC_PWR_Pin */
  GPIO_InitStruct.Pin = EC_PWR_Pin|NTC_PWR_Pin;
  GPIO_InitStruct.Mode = GPIO_MODE_OUTPUT_PP;
  GPIO_InitStruct.Pull = GPIO_NOPULL;
  GPIO_InitStruct.Speed = GPIO_SPEED_FREQ_LOW;
  HAL_GPIO_Init(GPIOB, &GPIO_InitStruct);

}

void Error_Handler(void)
{
}
